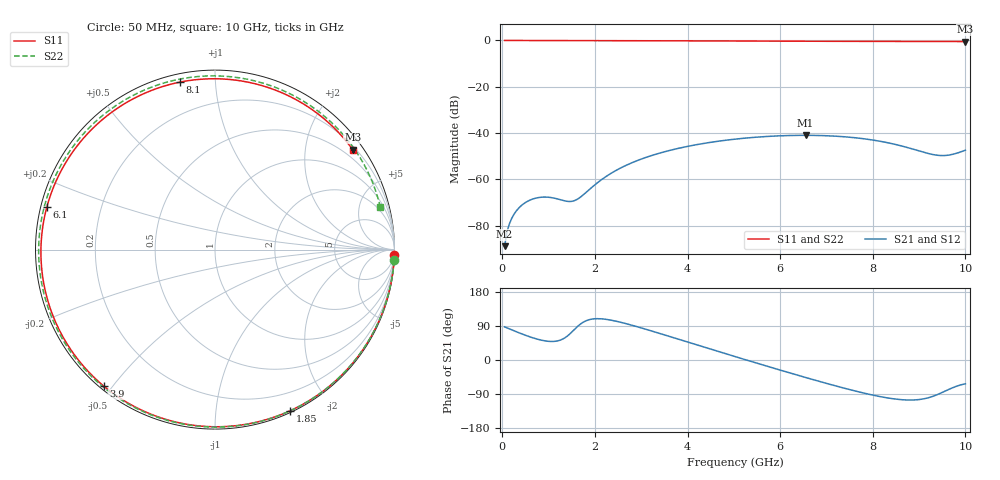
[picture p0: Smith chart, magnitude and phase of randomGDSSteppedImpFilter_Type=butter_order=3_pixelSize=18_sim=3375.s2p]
! freq	dB(S11)	phase(S11)	dB(S12)	phase(S12)
!  dB(S21)	phase(S21)	dB(S22)	phase(S22)
!S-par simulation data
#  GHz  S  DB  R 50
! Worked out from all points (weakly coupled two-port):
!   200 points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, 50 MHz to 10 GHz, reference 50 ohm
!   highest |S21| = -41.00 dB at 6.55 GHz (marker M1); lowest = -88.9 dB at 50 MHz (marker M2)
!   lowest |S11| = -0.5 dB at 10 GHz (marker M3), VSWR 37.42, Z = 13.9 + j153 ohm
!   |S11| at or under -10 dB: nowhere
!   |S22| runs from -0.4 to 0.0 dB; largest |S21 - S12| = 0
!   S11 on the Smith chart (normalised r, x): 50 MHz: 0, -63; 1.85 GHz: 0.02, -1.57; 3.9 GHz: 0.01, -0.47; 6.1 GHz: 0.02, +0.12; 8.1 GHz: 0.04, +0.81; 10 GHz: 0.28, +3.06
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0.05  -0.00 -1.8  -88.92 87.4  -88.92 87.4  -0.00 -3.5
0.15  -0.01 -5.5  -79.47 82.3  -79.47 82.3  -0.01 -10.3
0.3  -0.02 -10.9  -73.75 74.7  -73.75 74.7  -0.03 -20.4
0.45  -0.02 -16.2  -70.75 67.5  -70.75 67.5  -0.04 -30.4
0.9  -0.04 -32.3  -67.70 50.9  -67.70 50.9  -0.07 -58.6
1.45  -0.06 -51.4  -69.61 67.8  -69.61 67.8  -0.10 -88.8
1.75  -0.08 -61.6  -66.71 99.9  -66.71 99.9  -0.10 -103.2
1.85  -0.08 -65.0  -64.96 105.4  -64.96 105.4  -0.11 -107.7
2.5  -0.11 -86.2  -55.70 101.2  -55.70 101.2  -0.12 -133.9
3.4  -0.14 -114.3  -48.68 70.1  -48.68 70.1  -0.14 -163.6
3.9  -0.17 -129.3  -46.21 51.2  -46.21 51.2  -0.15 -178.1
5.05  -0.23 -163.0  -42.61 8.1  -42.61 8.1  -0.19 151.2
6.1  -0.30 165.8  -41.15 -30.2  -41.15 -30.2  -0.23 124.3
6.55  -0.33 152.1  -41.00 -46.2  -41.00 -46.2  -0.25 112.7
6.7  -0.34 147.4  -41.03 -51.4  -41.03 -51.4  -0.25 108.8
7.45  -0.38 123.4  -41.74 -76.5  -41.74 -76.5  -0.28 88.8
8.1  -0.42 101.7  -43.37 -95.2  -43.37 -95.2  -0.31 70.7
8.35  -0.43 93.2  -44.32 -100.7  -44.32 -100.7  -0.32 63.6
8.85  -0.44 75.9  -46.86 -105.6  -46.86 -105.6  -0.35 49.1
9.4  -0.45 56.7  -49.63 -91.0  -49.63 -91.0  -0.38 32.7
9.65  -0.46 48.0  -49.52 -77.1  -49.52 -77.1  -0.40 25.1
10  -0.46 36.0  -47.43 -62.7  -47.43 -62.7  -0.44 14.3
